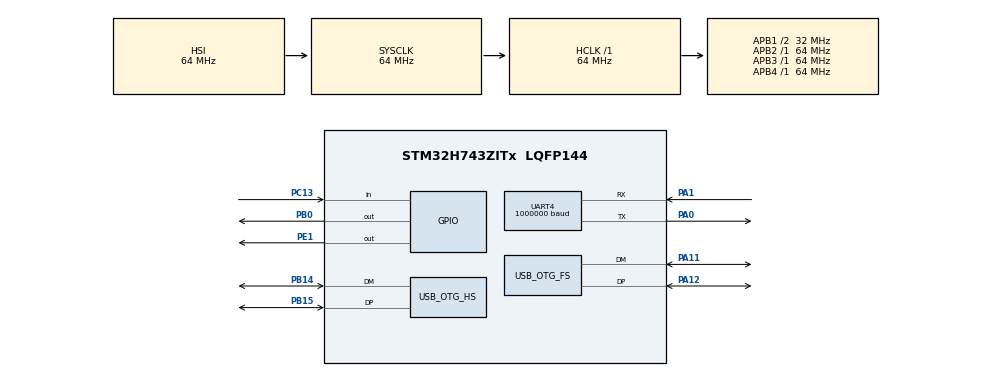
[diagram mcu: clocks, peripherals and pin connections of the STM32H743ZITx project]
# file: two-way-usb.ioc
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Mcu.Family=STM32H7
Mcu.Name=STM32H743ZITx
Mcu.Package=LQFP144
NVIC.OTG_FS_IRQn=true\:0\:0\:false\:false\:true\:false\:true\:true
NVIC.OTG_HS_IRQn=true\:0\:0\:false\:false\:true\:false\:true\:true
NVIC.PriorityGroup=NVIC_PRIORITYGROUP_4
PA0.Mode=Asynchronous
PA0.Signal=UART4_TX
PA1.Mode=Asynchronous
PA1.Signal=UART4_RX
PA11.Mode=Device_Only
PA11.Signal=USB_OTG_FS_DM
PA12.Mode=Device_Only
PA12.Signal=USB_OTG_FS_DP
PB0.Signal=GPIO_Output
PB14.Mode=Device_Only_FS
PB14.Signal=USB_OTG_HS_DM
PB15.Mode=Device_Only_FS
PB15.Signal=USB_OTG_HS_DP
PC13.Signal=GPIO_Input
PE1.Signal=GPIO_Output
ProjectManager.HeapSize=0x200
ProjectManager.StackSize=0x400
ProjectManager.TargetToolchain=STM32CubeIDE
RCC.ADCFreq_Value=129000000
RCC.APB1Freq_Value=32000000
RCC.APB2Freq_Value=64000000
RCC.APB3Freq_Value=64000000
RCC.APB4Freq_Value=64000000
RCC.CortexFreq_Value=64000000
RCC.D2PPRE1=RCC_APB1_DIV2
RCC.HCLKFreq_Value=64000000
RCC.SYSCLKFreq_VALUE=64000000
RCC.USBCLockSelection=RCC_USBCLKSOURCE_HSI48
RCC.USBFreq_Value=48000000
UART4.BaudRate=1000000
USB_DEVICE.CLASS_NAME_FS=MSC
USB_DEVICE.CLASS_NAME_HS=MSC
USB_DEVICE.VirtualMode-MSC_FS=Msc
USB_DEVICE.VirtualMode-MSC_HS=Msc
USB_DEVICE.VirtualModeFS=Msc_FS
USB_DEVICE.VirtualModeHS=Msc_HS
USB_OTG_FS.VirtualMode=Device_Only
USB_OTG_HS.VirtualMode-Device_Only_FS=Device_Only_FS
VP_CRC_VS_CRC.Mode=CRC_Activate
VP_USB_DEVICE_VS_USB_DEVICE_MSC_FS.Mode=MSC_FS
VP_USB_DEVICE_VS_USB_DEVICE_MSC_HS.Mode=MSC_HS
board=custom

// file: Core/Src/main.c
/* USER CODE BEGIN Header */
/**
  ******************************************************************************
  * @file           : main.c
  * @brief          : Main program body
  ******************************************************************************
  * @attention
  *
  * Copyright (c) 2022 STMicroelectronics.
  * All rights reserved.
  *
  * This software is licensed under terms that can be found in the LICENSE file
  * in the root directory of this software component.
  * If no LICENSE file comes with this software, it is provided AS-IS.
  *
  ******************************************************************************
  */
/* USER CODE END Header */
#include "main.h"
#include "usb_device.h"

/* USER CODE BEGIN Includes */

#include "ramdisk.h"
#include "ramdisk_autogenerated.h"
#include "flashdisk.h"
#include <stdbool.h>

/* USER CODE END Includes */

CRC_HandleTypeDef hcrc;

UART_HandleTypeDef huart4;

void SystemClock_Config(void);
static void MX_GPIO_Init(void);
static void MX_UART4_Init(void);
static void MX_CRC_Init(void);

int main(void)
{

  /* MCU Configuration--------------------------------------------------------*/

  /* Reset of all peripherals, Initializes the Flash interface and the Systick. */
  HAL_Init();

  /* Configure the system clock */
  SystemClock_Config();

  /* Initialize all configured peripherals */
  MX_GPIO_Init();
  MX_USB_DEVICE_Init();
  MX_UART4_Init();
  MX_CRC_Init();
  /* USER CODE BEGIN 2 */

  uint8_t *ramdisk = ramdisk_get();
  const size_t size = ramdisk_size();
  bool have_filesystem_in_flash = flashdisk_init();
  if (have_filesystem_in_flash)
  {
	  flashdisk_load(ramdisk, size);
  }
  else
  {
	  ramdisk_init(ramdisk);
  }
  uint32_t prev_crc = HAL_CRC_Calculate(&hcrc, (uint32_t*)ramdisk, size / 4);
  uint32_t toggles = 0;
  GPIO_PinState prev_button_state = HAL_GPIO_ReadPin(GPIOC, GPIO_PIN_13);

  /* USER CODE END 2 */

  /* Infinite loop */
  while (1)
  {

    /* USER CODE BEGIN 3 */
	  GPIO_PinState button_state = HAL_GPIO_ReadPin(GPIOC, GPIO_PIN_13);
	  if (button_state != prev_button_state)
	  {
		  toggles++;
	  }
	  prev_button_state = button_state;

	  if (toggles & 1)
	  {
		  ramdisk = ramdisk_get();

		  // Did the contents change?
		  uint32_t new_crc = HAL_CRC_Calculate(&hcrc, (uint32_t*)ramdisk, size / 4);
		  if (new_crc != prev_crc)
		  {
			  HAL_GPIO_WritePin(GPIOE, GPIO_PIN_1, GPIO_PIN_SET);
              if (flashdisk_store(ramdisk, size) == FLASHDISK_STORE_OK)
              {
    			  HAL_GPIO_WritePin(GPIOE, GPIO_PIN_1, GPIO_PIN_RESET);
              }
		  }
		  prev_crc = new_crc;

		  // Dump to UART
		  HAL_GPIO_WritePin(GPIOB, GPIO_PIN_0, GPIO_PIN_SET);
		  size_t chunk_size = 512;
		  size_t offset = 0;
		  while (offset < size)
		  {
			  size_t remaining = size - offset;
			  size_t write_size = (remaining > chunk_size) ? chunk_size : remaining;
			  HAL_UART_Transmit(&huart4, ramdisk + offset, write_size, 1000);
			  offset += write_size;
		  }
		  HAL_GPIO_WritePin(GPIOB, GPIO_PIN_0, GPIO_PIN_RESET);
	  }
  }
  /* USER CODE END 3 */
}

void SystemClock_Config(void)
{
  RCC_OscInitTypeDef RCC_OscInitStruct = {0};
  RCC_ClkInitTypeDef RCC_ClkInitStruct = {0};

  /** Supply configuration update enable
  */
  HAL_PWREx_ConfigSupply(PWR_LDO_SUPPLY);

  /** Configure the main internal regulator output voltage
  */
  __HAL_PWR_VOLTAGESCALING_CONFIG(PWR_REGULATOR_VOLTAGE_SCALE3);

  while(!__HAL_PWR_GET_FLAG(PWR_FLAG_VOSRDY)) {}

  /** Initializes the RCC Oscillators according to the specified parameters
  * in the RCC_OscInitTypeDef structure.
  */
  RCC_OscInitStruct.OscillatorType = RCC_OSCILLATORTYPE_HSI48|RCC_OSCILLATORTYPE_HSI;
  RCC_OscInitStruct.HSIState = RCC_HSI_DIV1;
  RCC_OscInitStruct.HSICalibrationValue = RCC_HSICALIBRATION_DEFAULT;
  RCC_OscInitStruct.HSI48State = RCC_HSI48_ON;
  RCC_OscInitStruct.PLL.PLLState = RCC_PLL_NONE;
  if (HAL_RCC_OscConfig(&RCC_OscInitStruct) != HAL_OK)
  {
    Error_Handler();
  }

  /** Initializes the CPU, AHB and APB buses clocks
  */
  RCC_ClkInitStruct.ClockType = RCC_CLOCKTYPE_HCLK|RCC_CLOCKTYPE_SYSCLK
                              |RCC_CLOCKTYPE_PCLK1|RCC_CLOCKTYPE_PCLK2
                              |RCC_CLOCKTYPE_D3PCLK1|RCC_CLOCKTYPE_D1PCLK1;
  RCC_ClkInitStruct.SYSCLKSource = RCC_SYSCLKSOURCE_HSI;
  RCC_ClkInitStruct.SYSCLKDivider = RCC_SYSCLK_DIV1;
  RCC_ClkInitStruct.AHBCLKDivider = RCC_HCLK_DIV1;
  RCC_ClkInitStruct.APB3CLKDivider = RCC_APB3_DIV1;
  RCC_ClkInitStruct.APB1CLKDivider = RCC_APB1_DIV2;
  RCC_ClkInitStruct.APB2CLKDivider = RCC_APB2_DIV1;
  RCC_ClkInitStruct.APB4CLKDivider = RCC_APB4_DIV1;

  if (HAL_RCC_ClockConfig(&RCC_ClkInitStruct, FLASH_LATENCY_1) != HAL_OK)
  {
    Error_Handler();
  }
}

static void MX_CRC_Init(void)
{

  hcrc.Instance = CRC;
  hcrc.Init.DefaultPolynomialUse = DEFAULT_POLYNOMIAL_ENABLE;
  hcrc.Init.DefaultInitValueUse = DEFAULT_INIT_VALUE_ENABLE;
  hcrc.Init.InputDataInversionMode = CRC_INPUTDATA_INVERSION_NONE;
  hcrc.Init.OutputDataInversionMode = CRC_OUTPUTDATA_INVERSION_DISABLE;
  hcrc.InputDataFormat = CRC_INPUTDATA_FORMAT_BYTES;
  if (HAL_CRC_Init(&hcrc) != HAL_OK)
  {
    Error_Handler();
  }

}

static void MX_UART4_Init(void)
{

  huart4.Instance = UART4;
  huart4.Init.BaudRate = 1000000;
  huart4.Init.WordLength = UART_WORDLENGTH_8B;
  huart4.Init.StopBits = UART_STOPBITS_1;
  huart4.Init.Parity = UART_PARITY_NONE;
  huart4.Init.Mode = UART_MODE_TX_RX;
  huart4.Init.HwFlowCtl = UART_HWCONTROL_NONE;
  huart4.Init.OverSampling = UART_OVERSAMPLING_16;
  huart4.Init.OneBitSampling = UART_ONE_BIT_SAMPLE_DISABLE;
  huart4.Init.ClockPrescaler = UART_PRESCALER_DIV1;
  huart4.AdvancedInit.AdvFeatureInit = UART_ADVFEATURE_NO_INIT;
  if (HAL_UART_Init(&huart4) != HAL_OK)
  {
    Error_Handler();
  }
  if (HAL_UARTEx_SetTxFifoThreshold(&huart4, UART_TXFIFO_THRESHOLD_1_8) != HAL_OK)
  {
    Error_Handler();
  }
  if (HAL_UARTEx_SetRxFifoThreshold(&huart4, UART_RXFIFO_THRESHOLD_1_8) != HAL_OK)
  {
    Error_Handler();
  }
  if (HAL_UARTEx_DisableFifoMode(&huart4) != HAL_OK)
  {
    Error_Handler();
  }

}

static void MX_GPIO_Init(void)
{
  GPIO_InitTypeDef GPIO_InitStruct = {0};

  /* GPIO Ports Clock Enable */
  __HAL_RCC_GPIOC_CLK_ENABLE();
  __HAL_RCC_GPIOA_CLK_ENABLE();
  __HAL_RCC_GPIOB_CLK_ENABLE();
  __HAL_RCC_GPIOE_CLK_ENABLE();

  /*Configure GPIO pin Output Level */
  HAL_GPIO_WritePin(GPIOB, GPIO_PIN_0, GPIO_PIN_RESET);

  /*Configure GPIO pin Output Level */
  HAL_GPIO_WritePin(GPIOE, GPIO_PIN_1, GPIO_PIN_RESET);

  /*Configure GPIO pin : PC13 */
  GPIO_InitStruct.Pin = GPIO_PIN_13;
  GPIO_InitStruct.Mode = GPIO_MODE_INPUT;
  GPIO_InitStruct.Pull = GPIO_NOPULL;
  HAL_GPIO_Init(GPIOC, &GPIO_InitStruct);

  /*Configure GPIO pin : PB0 */
  GPIO_InitStruct.Pin = GPIO_PIN_0;
  GPIO_InitStruct.Mode = GPIO_MODE_OUTPUT_PP;
  GPIO_InitStruct.Pull = GPIO_NOPULL;
  GPIO_InitStruct.Speed = GPIO_SPEED_FREQ_LOW;
  HAL_GPIO_Init(GPIOB, &GPIO_InitStruct);

  /*Configure GPIO pin : PE1 */
  GPIO_InitStruct.Pin = GPIO_PIN_1;
  GPIO_InitStruct.Mode = GPIO_MODE_OUTPUT_PP;
  GPIO_InitStruct.Pull = GPIO_NOPULL;
  GPIO_InitStruct.Speed = GPIO_SPEED_FREQ_LOW;
  HAL_GPIO_Init(GPIOE, &GPIO_InitStruct);

}

void Error_Handler(void)
{
  __disable_irq();
  while (1)
  {
  }
}
